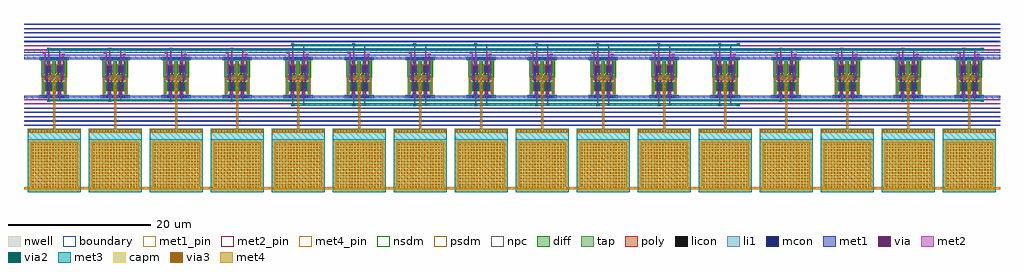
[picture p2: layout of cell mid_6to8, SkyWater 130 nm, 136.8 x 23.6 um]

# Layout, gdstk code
from math import pi, radians
import gdstk
lib = gdstk.Library(unit=1e-6, precision=1e-09)
def R(c, l, rs):  # rectangles x0, y0, x1, y1
    for r in rs: c.add(gdstk.rectangle(r[:2], r[2:], *l))
def A(c, l, x, y, w, h, nx, ny, dx, dy):  # array of equal rectangles
    R(c, l, [(x+i*dx, y+j*dy, x+i*dx+w, y+j*dy+h) for i in range(nx) for j in range(ny)])
nwell = (64, 20)
diff = (65, 20)
tap = (65, 44)
poly = (66, 20)
licon = (66, 44)
li1 = (67, 20)
mcon = (67, 44)
met1_pin = (68, 16)
met1 = (68, 20)
via = (68, 44)
met2_pin = (69, 16)
met2 = (69, 20)
via2 = (69, 44)
met3 = (70, 20)
via3 = (70, 44)
met4_pin = (71, 16)
met4 = (71, 20)
capm = (89, 44)
nsdm = (93, 44)
psdm = (94, 20)
npc = (95, 20)
boundary = (235, 4)

sky130_fd_pr__nfet_01v8_ = lib.new_cell('sky130_fd_pr__nfet_01v8_5WP7M2')
R(sky130_fd_pr__nfet_01v8_, diff, [(-0.365,-0.345,0.365,0.655)])
R(sky130_fd_pr__nfet_01v8_, tap, [(-0.875,-1.215,0.875,-1.045), (-0.875,-1.045,-0.705,1.045), (0.705,-1.045,0.875,1.045), (-0.875,1.045,0.875,1.215)])
R(sky130_fd_pr__nfet_01v8_, poly, [(-0.165,-0.785,0.165,-0.455), (-0.075,-0.455,0.075,0.785)])
A(sky130_fd_pr__nfet_01v8_, licon, -0.305, -0.27, 0.17, 0.17, 1, 3, 0, 0.34)
A(sky130_fd_pr__nfet_01v8_, licon, 0.135, -0.27, 0.17, 0.17, 1, 3, 0, 0.34)
R(sky130_fd_pr__nfet_01v8_, licon, [(-0.255,-1.215,-0.085,-1.045), (0.085,-1.215,0.255,-1.045), (-0.085,-0.705,0.085,-0.535)])
R(sky130_fd_pr__nfet_01v8_, li1, [(-0.475,-1.215,0.475,-1.045), (-0.165,-0.705,0.165,-0.535), (-0.305,-0.365,-0.135,0.675), (0.135,-0.365,0.305,0.675)])
R(sky130_fd_pr__nfet_01v8_, mcon, [(-0.085,-0.705,0.085,-0.535), (-0.305,-0.11,-0.135,0.06), (0.135,-0.11,0.305,0.06), (-0.305,0.25,-0.135,0.42), (0.135,0.25,0.305,0.42)])
R(sky130_fd_pr__nfet_01v8_, met1, [(-0.145,-0.735,0.145,-0.505), (-0.335,-0.345,-0.105,0.655), (0.105,-0.345,0.335,0.655)])
R(sky130_fd_pr__nfet_01v8_, nsdm, [(-0.49,-0.47,0.49,0.78)])
R(sky130_fd_pr__nfet_01v8_, psdm, [(-1,-1.34,1,-0.92), (-1,-0.92,-0.58,0.92), (0.58,-0.92,1,0.92), (-1,0.92,1,1.34)])
R(sky130_fd_pr__nfet_01v8_, npc, [(-0.185,-0.805,0.185,-0.435)])
R(sky130_fd_pr__nfet_01v8_, boundary, [(-0.79,-1.13,0.79,1.13)])

sky130_fd_pr__pfet_01v8_ = lib.new_cell('sky130_fd_pr__pfet_01v8_NKK3FE')
R(sky130_fd_pr__pfet_01v8_, nwell, [(-1.055,-1.42,1.055,1.42)])
R(sky130_fd_pr__pfet_01v8_, diff, [(-0.365,-0.68,0.365,0.32)])
R(sky130_fd_pr__pfet_01v8_, tap, [(-0.875,-1.24,0.875,-1.07), (-0.875,-1.07,-0.705,1.07), (0.705,-1.07,0.875,1.07), (-0.875,1.07,0.875,1.24)])
R(sky130_fd_pr__pfet_01v8_, poly, [(-0.075,-0.81,0.075,0.475), (-0.165,0.475,0.165,0.805)])
A(sky130_fd_pr__pfet_01v8_, licon, -0.305, -0.605, 0.17, 0.17, 1, 3, 0, 0.34)
A(sky130_fd_pr__pfet_01v8_, licon, 0.135, -0.605, 0.17, 0.17, 1, 3, 0, 0.34)
R(sky130_fd_pr__pfet_01v8_, licon, [(-0.085,0.555,0.085,0.725), (-0.255,1.07,-0.085,1.24), (0.085,1.07,0.255,1.24)])
R(sky130_fd_pr__pfet_01v8_, li1, [(-0.305,-0.7,-0.135,0.34), (0.135,-0.7,0.305,0.34), (-0.165,0.555,0.165,0.725), (-0.475,1.07,0.475,1.24)])
R(sky130_fd_pr__pfet_01v8_, mcon, [(-0.305,-0.445,-0.135,-0.275), (0.135,-0.445,0.305,-0.275), (-0.305,-0.085,-0.135,0.085), (0.135,-0.085,0.305,0.085), (-0.085,0.555,0.085,0.725)])
R(sky130_fd_pr__pfet_01v8_, met1, [(-0.335,-0.68,-0.105,0.32), (0.105,-0.68,0.335,0.32), (-0.145,0.525,0.145,0.755)])
R(sky130_fd_pr__pfet_01v8_, nsdm, [(-1,-1.365,1,-0.945), (-1,-0.945,-0.58,0.945), (0.58,-0.945,1,0.945), (-1,0.945,1,1.365)])
R(sky130_fd_pr__pfet_01v8_, psdm, [(-0.49,-0.805,0.49,0.445)])
R(sky130_fd_pr__pfet_01v8_, npc, [(-0.185,0.455,0.185,0.825)])
R(sky130_fd_pr__pfet_01v8_, boundary, [(-0.79,-1.155,0.79,1.155)])

c_sky130_fd_pr__pfet_01v8_ = lib.new_cell('sky130_fd_pr__pfet_01v8_QKK3FL')
R(c_sky130_fd_pr__pfet_01v8_, nwell, [(-1.055,-1.42,1.055,1.42)])
R(c_sky130_fd_pr__pfet_01v8_, diff, [(-0.365,-0.32,0.365,0.68)])
R(c_sky130_fd_pr__pfet_01v8_, tap, [(-0.875,-1.24,0.875,-1.07), (-0.875,-1.07,-0.705,1.07), (0.705,-1.07,0.875,1.07), (-0.875,1.07,0.875,1.24)])
R(c_sky130_fd_pr__pfet_01v8_, poly, [(-0.165,-0.805,0.165,-0.475), (-0.075,-0.475,0.075,0.81)])
A(c_sky130_fd_pr__pfet_01v8_, licon, -0.305, -0.245, 0.17, 0.17, 1, 3, 0, 0.34)
A(c_sky130_fd_pr__pfet_01v8_, licon, 0.135, -0.245, 0.17, 0.17, 1, 3, 0, 0.34)
R(c_sky130_fd_pr__pfet_01v8_, licon, [(-0.255,-1.24,-0.085,-1.07), (0.085,-1.24,0.255,-1.07), (-0.085,-0.725,0.085,-0.555)])
R(c_sky130_fd_pr__pfet_01v8_, li1, [(-0.475,-1.24,0.475,-1.07), (-0.165,-0.725,0.165,-0.555), (-0.305,-0.34,-0.135,0.7), (0.135,-0.34,0.305,0.7)])
R(c_sky130_fd_pr__pfet_01v8_, mcon, [(-0.085,-0.725,0.085,-0.555), (-0.305,-0.085,-0.135,0.085), (0.135,-0.085,0.305,0.085), (-0.305,0.275,-0.135,0.445), (0.135,0.275,0.305,0.445)])
R(c_sky130_fd_pr__pfet_01v8_, met1, [(-0.145,-0.755,0.145,-0.525), (-0.335,-0.32,-0.105,0.68), (0.105,-0.32,0.335,0.68)])
R(c_sky130_fd_pr__pfet_01v8_, nsdm, [(-1,-1.365,1,-0.945), (-1,-0.945,-0.58,0.945), (0.58,-0.945,1,0.945), (-1,0.945,1,1.365)])
R(c_sky130_fd_pr__pfet_01v8_, psdm, [(-0.49,-0.445,0.49,0.805)])
R(c_sky130_fd_pr__pfet_01v8_, npc, [(-0.185,-0.825,0.185,-0.455)])
R(c_sky130_fd_pr__pfet_01v8_, boundary, [(-0.79,-1.155,0.79,1.155)])

c_sky130_fd_pr__nfet_01v8_ = lib.new_cell('sky130_fd_pr__nfet_01v8_5WU4M2')
R(c_sky130_fd_pr__nfet_01v8_, diff, [(-0.365,-0.655,0.365,0.345)])
R(c_sky130_fd_pr__nfet_01v8_, tap, [(-0.875,-1.215,0.875,-1.045), (-0.875,-1.045,-0.705,1.045), (0.705,-1.045,0.875,1.045), (-0.875,1.045,0.875,1.215)])
R(c_sky130_fd_pr__nfet_01v8_, poly, [(-0.075,-0.785,0.075,0.455), (-0.165,0.455,0.165,0.785)])
A(c_sky130_fd_pr__nfet_01v8_, licon, -0.305, -0.58, 0.17, 0.17, 1, 3, 0, 0.34)
A(c_sky130_fd_pr__nfet_01v8_, licon, 0.135, -0.58, 0.17, 0.17, 1, 3, 0, 0.34)
R(c_sky130_fd_pr__nfet_01v8_, licon, [(-0.085,0.535,0.085,0.705), (-0.255,1.045,-0.085,1.215), (0.085,1.045,0.255,1.215)])
R(c_sky130_fd_pr__nfet_01v8_, li1, [(-0.305,-0.675,-0.135,0.365), (0.135,-0.675,0.305,0.365), (-0.165,0.535,0.165,0.705), (-0.475,1.045,0.475,1.215)])
R(c_sky130_fd_pr__nfet_01v8_, mcon, [(-0.305,-0.42,-0.135,-0.25), (0.135,-0.42,0.305,-0.25), (-0.305,-0.06,-0.135,0.11), (0.135,-0.06,0.305,0.11), (-0.085,0.535,0.085,0.705)])
R(c_sky130_fd_pr__nfet_01v8_, met1, [(-0.335,-0.655,-0.105,0.345), (0.105,-0.655,0.335,0.345), (-0.145,0.505,0.145,0.735)])
R(c_sky130_fd_pr__nfet_01v8_, nsdm, [(-0.49,-0.78,0.49,0.47)])
R(c_sky130_fd_pr__nfet_01v8_, psdm, [(-1,-1.34,1,-0.92), (-1,-0.92,-0.58,0.92), (0.58,-0.92,1,0.92), (-1,0.92,1,1.34)])
R(c_sky130_fd_pr__nfet_01v8_, npc, [(-0.185,0.435,0.185,0.805)])
R(c_sky130_fd_pr__nfet_01v8_, boundary, [(-0.79,-1.13,0.79,1.13)])

sky130_fd_pr__cap_mim_m3 = lib.new_cell('sky130_fd_pr__cap_mim_m3_1_BZXSER')
R(sky130_fd_pr__cap_mim_m3, met3, [(-4.43,-3.7,4.43,3.7)])
A(sky130_fd_pr__cap_mim_m3, via3, 4.07, -3.5, 0.2, 0.2, 1, 18, 0, 0.4)
A(sky130_fd_pr__cap_mim_m3, via3, -3.83, -3.1, 0.2, 0.2, 16, 16, 0.4, 0.4)
R(sky130_fd_pr__cap_mim_m3, met4, [(3.93,-3.64,4.41,3.64), (-4.035,-3.305,2.575,3.305)])
R(sky130_fd_pr__cap_mim_m3, capm, [(-4.23,-3.5,2.77,3.5)])
R(sky130_fd_pr__cap_mim_m3, boundary, [(-4.43,-3.7,2.97,3.7)])

cap_final = lib.new_cell('cap_final')
R(cap_final, li1, [(3.55,-4.75,7.6,-4.3), (3.55,0.55,7.6,1)])
A(cap_final, mcon, 4.355, -4.635, 0.17, 0.17, 3, 2, 0.36, 5.35)
A(cap_final, mcon, 5.725, -4.635, 0.17, 0.17, 4, 1, 0.36, 0)
A(cap_final, mcon, 5.955, 0.715, 0.17, 0.17, 3, 1, 0.36, 0)
R(cap_final, met1_pin, [(3.85,-4.7,4.15,-4.4), (5.4,-4.7,5.7,-4.4), (4.31,-2.04,4.61,-1.74), (6.56,-2.04,6.86,-1.74), (4.64,0.04,4.94,0.34), (6.17,0.06,6.47,0.36), (3.85,0.65,4.15,0.95), (5.5,0.65,5.75,0.95)])
R(cap_final, met1, [(1.35,-5.05,5.5,-4.9), (5.65,-5.05,9.9,-4.9), (1.35,-4.75,9.9,-4.4), (4.55,-4.2,5.05,-3.8), (6.1,-4.2,6.6,-3.8), (4.5,-2.7,4.65,-2.1), (4.95,-2.7,5.1,-2.1), (6.05,-2.7,6.2,-2.1), (6.5,-2.7,6.65,-2.1), (4.25,-2.1,4.65,-1.7), (4.95,-2.1,6.2,-1.7), (6.5,-2.1,6.9,-1.7), (4.5,-1.7,4.65,-1.1), (4.95,-1.7,5.1,-1.1), (6.05,-1.7,6.2,-1.1), (6.5,-1.7,6.65,-1.1), (4.55,0,5.05,0.4), (6.1,0,6.6,0.4), (1.35,0.65,9.9,1), (1.35,1.15,9.9,1.3), (6.65,1.3,7.05,1.45), (4,1.45,4.4,1.6), (1.35,1.6,9.9,1.75), (1.35,1.9,9.9,2.05)])
R(cap_final, via, [(4.725,-4.075,4.875,-3.925), (6.275,-4.075,6.425,-3.925), (4.375,-1.975,4.525,-1.825), (5.225,-1.975,5.375,-1.825), (5.775,-1.975,5.925,-1.825), (6.625,-1.975,6.775,-1.825), (4.725,0.125,4.875,0.275), (6.275,0.125,6.425,0.275), (6.775,1.225,6.925,1.375), (4.125,1.525,4.275,1.675)])
R(cap_final, met2_pin, [(4.65,-4.15,4.95,-3.85), (6.2,-4.15,6.5,-3.85)])
R(cap_final, met2, [(4.75,-4.85,4.9,-4.2), (6.3,-4.85,6.45,-4.2), (4.6,-4.2,5,-3.8), (6.15,-4.2,6.55,-3.8), (5.05,-2.15,6.1,-1.65), (4.25,-2.1,4.65,-1.7), (6.5,-2.1,6.9,-1.7), (4.25,-1.7,4.4,1.45), (6.75,-1.7,6.9,1.15), (4.6,0,5,0.4), (6.15,0,6.55,0.4), (4.75,0.4,4.9,1.85), (6.3,0.4,6.45,1.85), (6.65,1.15,7.05,1.45), (4,1.45,4.4,1.75)])
R(cap_final, via2, [(5.225,-1.975,5.425,-1.775), (5.775,-1.975,5.975,-1.775)])
R(cap_final, met3, [(4.95,-2.25,6.2,-1.55)])
R(cap_final, via3, [(5.225,-2,5.425,-1.8), (5.775,-2,5.975,-1.8)])
R(cap_final, met4_pin, [(2.45,-17.35,2.75,-17.05)])
R(cap_final, met4, [(2.4,-17.4,2.75,-17.05), (5.45,-9.5,5.75,-2.25), (4.95,-2.25,6.2,-1.55)])
cap_final.add(gdstk.Reference(sky130_fd_pr__nfet_01v8_, (4.805,-3.305)))
cap_final.add(gdstk.Reference(sky130_fd_pr__pfet_01v8_, (4.805,-0.48)))
cap_final.add(gdstk.Reference(c_sky130_fd_pr__pfet_01v8_, (6.355,-0.48), rotation=pi))
cap_final.add(gdstk.Reference(c_sky130_fd_pr__nfet_01v8_, (6.355,-3.305), rotation=pi))
cap_final.add(gdstk.Reference(sky130_fd_pr__cap_mim_m3, (5.6,-13.52), rotation=pi/2, x_reflection=True))
cap_final.add(gdstk.Label('com_x', (2.6,-17.2), layer=71, texttype=5))
cap_final.add(gdstk.Label('sub', (5.55,-4.55), layer=68, texttype=5))
cap_final.add(gdstk.Label('phi1', (4.8,-4), layer=69, texttype=5))
cap_final.add(gdstk.Label('Vdd', (4,0.8), layer=68, texttype=5))
cap_final.add(gdstk.Label('phi1_n', (4.79,0.19), layer=68, texttype=5))
cap_final.add(gdstk.Label('Vin', (4.46,-1.89), layer=68, texttype=5))
cap_final.add(gdstk.Label('sub', (4,-4.55), layer=68, texttype=5))
cap_final.add(gdstk.Label('Vdd', (5.625,0.8), layer=68, texttype=5))
cap_final.add(gdstk.Label('phi2', (6.35,-4), layer=69, texttype=5))
cap_final.add(gdstk.Label('GND', (6.71,-1.89), layer=68, texttype=5))
cap_final.add(gdstk.Label('phi2_n', (6.32,0.21), layer=68, texttype=5))

c_8_cap_array_final = lib.new_cell('8_cap_array_final')
A(c_8_cap_array_final, met1, -0.65, 8.15, 68.4, 0.15, 1, 6, 0, 0.6)
A(c_8_cap_array_final, met1, -0.65, 19.3, 68.4, 0.15, 1, 6, 0, 0.6)
R(c_8_cap_array_final, met1, [(-0.05,11.75,7.05,11.9), (8.75,11.75,14.85,11.9), (18.5,11.75,23.9,11.9), (26.95,11.75,32.35,11.9), (35.4,11.75,41.05,11.9), (44.1,11.75,49.65,11.9), (52.7,11.75,58.35,11.9), (61.4,11.75,66.15,11.9), (-0.05,12.05,7.05,12.4), (8.75,12.05,14.85,12.4), (18.5,12.05,23.9,12.4), (26.95,12.05,32.35,12.4), (35.4,12.05,41.05,12.4), (44.1,12.05,49.65,12.4), (52.7,12.05,58.35,12.4), (61.4,12.05,66.15,12.4), (-0.05,17.45,7.05,17.8), (8.75,17.45,14.85,17.8), (18.5,17.45,23.9,17.8), (26.95,17.45,32.35,17.8), (35.4,17.45,41.05,17.8), (44.1,17.45,49.65,17.8), (52.7,17.45,58.35,17.8), (61.4,17.45,66.15,17.8), (-0.05,17.95,7.05,18.1), (8.75,17.95,14.85,18.1), (18.5,17.95,23.9,18.1), (26.95,17.95,32.35,18.1), (35.4,17.95,41.05,18.1), (44.1,17.95,49.65,18.1), (52.7,17.95,58.35,18.1), (61.4,17.95,66.15,18.1), (-0.05,18.4,7.05,18.55), (8.75,18.4,14.85,18.55), (18.5,18.4,23.9,18.55), (26.95,18.4,32.35,18.55), (35.4,18.4,41.05,18.55), (44.1,18.4,49.65,18.55), (52.7,18.4,58.35,18.55), (61.4,18.4,66.15,18.55), (-0.05,18.7,7.05,18.85), (8.75,18.7,14.85,18.85), (18.5,18.7,23.9,18.85), (26.95,18.7,32.35,18.85), (35.4,18.7,41.05,18.85), (44.1,18.7,49.65,18.85), (52.7,18.7,58.35,18.85), (61.4,18.7,66.15,18.85)])
R(c_8_cap_array_final, met4, [(-0.65,-0.75,67.75,-0.45)])
c_8_cap_array_final.add(gdstk.Reference(cap_final, (49.3,16.8)))
c_8_cap_array_final.add(gdstk.Reference(cap_final, (40.75,16.8)))
c_8_cap_array_final.add(gdstk.Reference(cap_final, (32.2,16.8)))
c_8_cap_array_final.add(gdstk.Reference(cap_final, (23.65,16.8)))
c_8_cap_array_final.add(gdstk.Reference(cap_final, (15.1,16.8)))
c_8_cap_array_final.add(gdstk.Reference(cap_final, (6.55,16.8)))
c_8_cap_array_final.add(gdstk.Reference(cap_final, (57.85,16.8)))
c_8_cap_array_final.add(gdstk.Reference(cap_final, (-2,16.8)))

mid_6to8 = lib.new_cell('mid_6to8')
A(mid_6to8, met1, 39.05, 12.15, 0.4, 0.15, 8, 2, 8.55, 8.45)
A(mid_6to8, met1, 4.85, 12.75, 0.4, 0.15, 4, 2, 8.55, 7.25)
A(mid_6to8, met1, 107.45, 12.75, 0.4, 0.15, 4, 1, 8.55, 0)
A(mid_6to8, met1, 3.25, 19.85, 2, 0.15, 4, 1, 8.55, 0)
A(mid_6to8, met1, 105.85, 19.85, 2, 0.15, 3, 1, 8.55, 0)
A(mid_6to8, met1, 107.45, 20, 0.4, 0.15, 3, 1, 8.55, 0)
A(mid_6to8, met1, 46, 20.45, 2, 0.15, 7, 1, 8.55, 0)
R(mid_6to8, met1, [(0,12.3,136.8,12.45), (0,12.9,136.8,13.05), (133.1,19.85,133.5,20.15), (0,20.45,39.45,20.6)])
A(mid_6to8, via, 39.175, 12.225, 0.15, 0.15, 8, 2, 8.55, 8.3)
A(mid_6to8, via, 4.975, 12.825, 0.15, 0.15, 4, 2, 8.55, 7.1)
A(mid_6to8, via, 107.575, 12.825, 0.15, 0.15, 4, 2, 8.55, 7.1)
A(mid_6to8, met2, 46, 12.05, 0.4, 0.4, 7, 2, 8.55, 8.4)
A(mid_6to8, met2, 39.05, 12.15, 0.4, 0.3, 8, 2, 8.55, 8.3)
A(mid_6to8, met2, 11.8, 12.65, 0.4, 0.4, 3, 2, 8.55, 7.2)
A(mid_6to8, met2, 105.85, 12.65, 0.4, 0.4, 4, 2, 8.55, 7.2)
A(mid_6to8, met2, 4.85, 12.75, 0.4, 0.3, 4, 2, 8.55, 7.1)
A(mid_6to8, met2, 107.45, 12.75, 0.4, 0.3, 4, 2, 8.55, 7.1)
R(mid_6to8, met2, [(37.45,12.05,37.85,12.3), (99.9,12.05,100.3,12.3), (0,12.3,37.85,12.45), (99.9,12.3,136.8,12.45), (37.6,12.45,37.75,13.2), (39.15,12.45,39.3,13.2), (46.15,12.45,46.3,13.2), (47.7,12.45,47.85,13.2), (54.7,12.45,54.85,13.2), (56.25,12.45,56.4,13.2), (63.25,12.45,63.4,13.2), (64.8,12.45,64.95,13.2), (71.8,12.45,71.95,13.2), (73.35,12.45,73.5,13.2), (80.35,12.45,80.5,13.2), (81.9,12.45,82.05,13.2), (88.9,12.45,89.05,13.2), (90.45,12.45,90.6,13.2), (97.45,12.45,97.6,13.2), (99,12.45,99.15,13.2), (3.25,12.65,3.65,12.9), (134.1,12.65,134.5,12.9), (0,12.9,3.65,13.05), (134.1,12.9,136.8,13.05), (3.4,13.05,3.55,13.2), (4.95,13.05,5.1,13.2), (11.95,13.05,12.1,13.2), (13.5,13.05,13.65,13.2), (20.5,13.05,20.65,13.2), (22.05,13.05,22.2,13.2), (29.05,13.05,29.2,13.2), (30.6,13.05,30.75,13.2), (106,13.05,106.15,13.2), (107.55,13.05,107.7,13.2), (114.55,13.05,114.7,13.2), (116.1,13.05,116.25,13.2), (123.1,13.05,123.25,13.2), (124.65,13.05,124.8,13.2), (131.65,13.05,131.8,13.2), (133.2,13.05,133.35,13.2), (3.4,19.8,3.55,19.85), (4.95,19.8,5.1,19.85), (11.95,19.8,12.1,19.85), (13.5,19.8,13.65,19.85), (20.5,19.8,20.65,19.85), (22.05,19.8,22.2,19.85), (29.05,19.8,29.2,19.85), (30.6,19.8,30.75,19.85), (37.6,19.8,37.75,20.45), (39.15,19.8,39.3,20.45), (46.15,19.8,46.3,20.45), (47.7,19.8,47.85,20.45), (54.7,19.8,54.85,20.45), (56.25,19.8,56.4,20.45), (63.25,19.8,63.4,20.45), (64.8,19.8,64.95,20.45), (71.8,19.8,71.95,20.45), (73.35,19.8,73.5,20.45), (80.35,19.8,80.5,20.45), (81.9,19.8,82.05,20.45), (88.9,19.8,89.05,20.45), (90.45,19.8,90.6,20.45), (97.45,19.8,97.6,20.45), (99,19.8,99.15,20.45), (106,19.8,106.15,19.85), (107.55,19.8,107.7,19.85), (114.55,19.8,114.7,19.85), (116.1,19.8,116.25,19.85), (123.1,19.8,123.25,19.85), (124.65,19.8,124.8,19.85), (131.65,19.8,131.8,19.85), (133.2,19.8,133.35,19.85), (0,19.85,3.65,20), (134.1,19.85,136.8,20), (3.25,20,3.65,20.25), (134.1,20,134.5,20.25), (0,20.45,37.85,20.6), (99.9,20.45,136.8,20.6), (37.45,20.6,37.85,20.85), (99.9,20.6,100.3,20.85)])
A(mid_6to8, via2, 37.55, 12.15, 0.2, 0.2, 8, 2, 8.55, 8.4)
A(mid_6to8, via2, 3.35, 12.75, 0.2, 0.2, 4, 2, 8.55, 7.2)
A(mid_6to8, via2, 105.95, 12.75, 0.2, 0.2, 4, 2, 8.55, 7.2)
R(mid_6to8, via2, [(100,12.15,100.2,12.35), (134.2,12.75,134.4,12.95), (134.2,19.95,134.4,20.15), (100,20.55,100.2,20.75)])
A(mid_6to8, met3, 37.45, 12.05, 0.4, 0.1, 8, 2, 8.55, 8.7)
A(mid_6to8, met3, 3.25, 12.65, 0.4, 0.1, 4, 2, 8.55, 7.5)
A(mid_6to8, met3, 105.85, 12.65, 0.4, 0.1, 4, 2, 8.55, 7.5)
R(mid_6to8, met3, [(99.9,12.05,100.3,12.15), (37.45,12.15,100.3,12.45), (134.1,12.65,134.5,12.75), (3.25,12.75,134.5,13.05), (3.25,19.85,134.5,20.15), (134.1,20.15,134.5,20.25), (37.45,20.45,100.3,20.75), (99.9,20.75,100.3,20.85)])
mid_6to8.add(gdstk.Reference(c_8_cap_array_final, (69.05,1.15)))
mid_6to8.add(gdstk.Reference(c_8_cap_array_final, (0.65,1.15)))

lib.write_gds('mid_6to8.gds')
